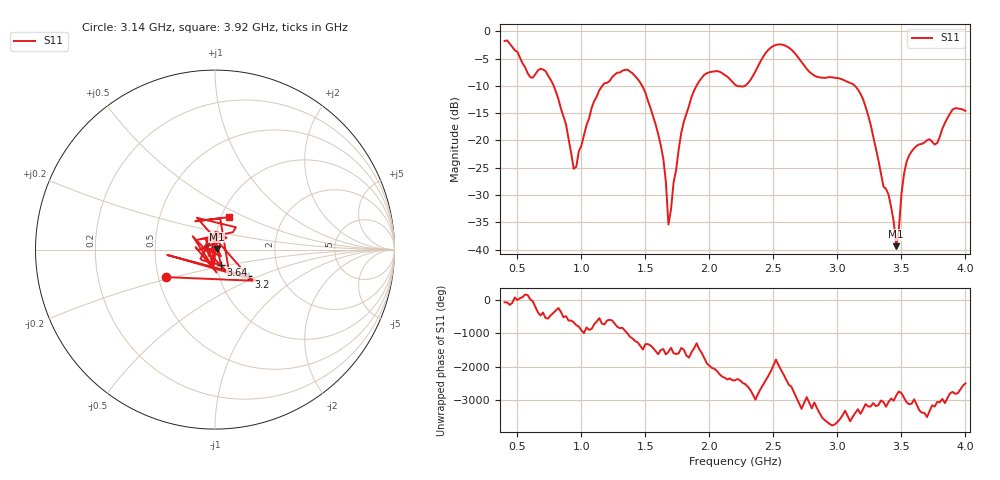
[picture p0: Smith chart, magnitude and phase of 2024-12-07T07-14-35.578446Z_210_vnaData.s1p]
!Created with skrf (http://scikit-rf.org).
# Hz S RI R 50.0
!freq ReS11 ImS11
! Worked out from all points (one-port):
!   181 points, 400 MHz to 4 GHz, reference 50 ohm
!   lowest |S11| = -39.4 dB at 3.46 GHz (marker M1), VSWR 1.02, Z = 51 + j0.336 ohm
!   |S11| at or under -10 dB: 783.6 MHz to 1.164 GHz (380.2 MHz wide, 39 % of centre); 1.475 GHz to 1.899 GHz (424.4 MHz wide, 25.2 % of centre); 3.137 GHz to end of sweep (the widest 3 of 4)
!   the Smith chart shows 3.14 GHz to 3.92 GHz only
!   S11 on the Smith chart (normalised r, x): 3.14 GHz: 0.55, -0.19; 3.2 GHz: 1.38, -0.44; 3.64 GHz: 1.05, -0.18; 3.92 GHz: 1.09, +0.41
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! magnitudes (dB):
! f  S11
! 400 MHz  -1.8
! 600 MHz  -8.4
! 720 MHz  -7.3
! 860 MHz  -15.6
! 940 MHz  -25.2
! 1.1 GHz  -12.8
! 1.3 GHz  -7.6
! 1.44 GHz  -8.8
! 1.54 GHz  -14.1
! 1.64 GHz  -23.4
! 1.68 GHz  -35.4
! 1.76 GHz  -21.7
! 1.86 GHz  -12.1
! 1.96 GHz  -8.0
! 2.2 GHz  -9.8
! 2.5 GHz  -2.7
! 2.66 GHz  -3.8
! 3.1 GHz  -9.5
! 3.14 GHz  -10.1
! 3.2 GHz  -12.4
! 3.4 GHz  -29.9
! 3.46 GHz  -39.4
! 3.52 GHz  -26.2
! 3.56 GHz  -22.8
! 3.64 GHz  -20.7
! 3.78 GHz  -20.4
! 3.92 GHz  -14.1
! 4 GHz  -14.6
